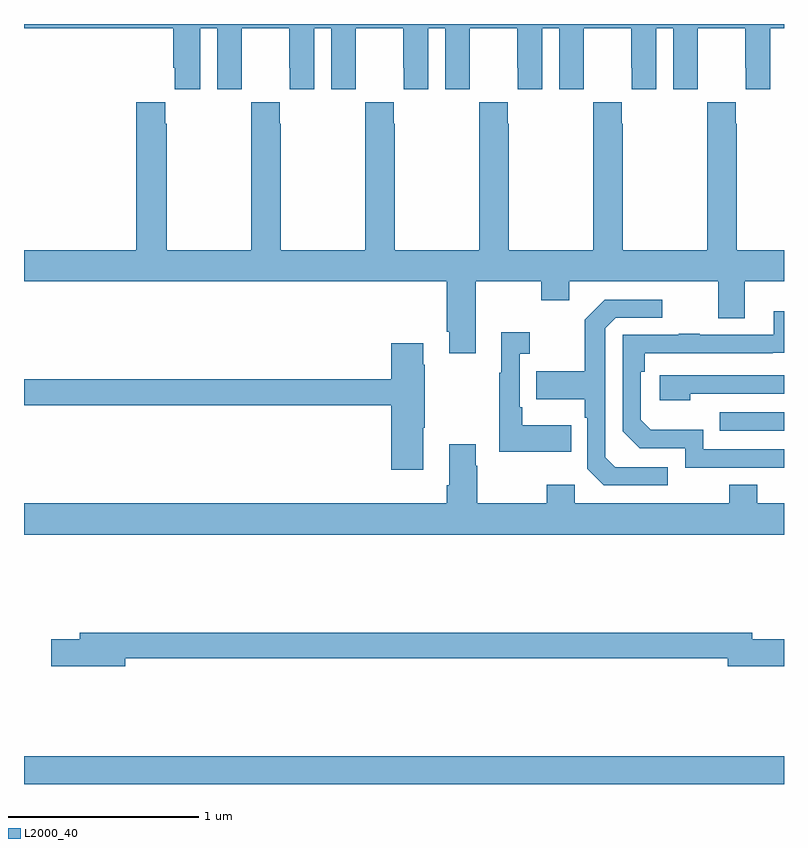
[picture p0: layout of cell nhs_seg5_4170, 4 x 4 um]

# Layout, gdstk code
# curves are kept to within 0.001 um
import gdstk
lib = gdstk.Library(unit=1e-6, precision=1e-09)
def R(c, l, rs):  # rectangles x0, y0, x1, y1
    for r in rs: c.add(gdstk.rectangle(r[:2], r[2:], *l))
def P(c, l, *ps):  # polygons
    for p in ps: c.add(gdstk.Polygon(p, *l))
L2000_40 = (2000, 40)

nhs_seg5_4170 = lib.new_cell('nhs_seg5_4170')
R(nhs_seg5_4170, L2000_40, [(357,836.799,361,836.944), (360.661,838.659,361,838.755)])
P(nhs_seg5_4170, L2000_40, [(357.928,840.776),(358.016,840.776),(358.016,840.456),(358.146,840.456),(358.146,840.568),(358.147,840.568),(358.147,840.776),(358.397,840.776),(358.397,840.568),(358.398,840.568),(358.398,840.456),(358.528,840.456),(358.528,840.776),(358.616,840.776),(358.616,840.456),(358.746,840.456),(358.746,840.568),(358.747,840.568),(358.747,840.776),(358.997,840.776),(358.997,840.568),(358.998,840.568),(358.998,840.456),(359.128,840.456),(359.128,840.776),(359.216,840.776),(359.216,840.456),(359.346,840.456),(359.346,840.568),(359.347,840.568),(359.347,840.776),(359.597,840.776),(359.597,840.568),(359.598,840.568),(359.598,840.456),(359.728,840.456),(359.728,840.776),(359.816,840.776),(359.816,840.456),(359.946,840.456),(359.946,840.568),(359.947,840.568),(359.947,840.776),(360.197,840.776),(360.197,840.568),(360.198,840.568),(360.198,840.456),(360.328,840.456),(360.328,840.776),(360.416,840.776),(360.416,840.456),(360.546,840.456),(360.546,840.568),(360.547,840.568),(360.547,840.776),(360.797,840.776),(360.797,840.568),(360.798,840.568),(360.798,840.456),(360.928,840.456),(360.928,840.776),(361,840.776),(361,840.799),(357,840.799),(357,840.776),(357.785,840.776),(357.785,840.568),(357.794,840.568),(357.794,840.456),(357.928,840.456)],
  [(358.947,840.275),(358.947,840.388),(358.797,840.388),(358.797,840.275),(358.795,840.275),(358.795,839.608),(358.35,839.608),(358.35,840.275),(358.347,840.275),(358.347,840.388),(358.197,840.388),(358.197,840.275),(358.195,840.275),(358.195,839.608),(357.75,839.608),(357.75,840.275),(357.743,840.275),(357.743,840.388),(357.59,840.388),(357.59,839.608),(357,839.608),(357,839.444),(359.225,839.444),(359.225,839.179),(359.237,839.179),(359.237,839.067),(359.377,839.067),(359.377,839.444),(359.722,839.444),(359.722,839.345),(359.869,839.345),(359.869,839.444),(360.653,839.444),(360.653,839.25),(360.793,839.25),(360.793,839.444),(361,839.444),(361,839.608),(360.75,839.608),(360.75,840.275),(360.747,840.275),(360.747,840.388),(360.597,840.388),(360.597,840.275),(360.595,840.275),(360.595,839.608),(360.15,839.608),(360.15,840.275),(360.147,840.275),(360.147,840.388),(359.997,840.388),(359.997,840.275),(359.995,840.275),(359.995,839.608),(359.55,839.608),(359.55,840.275),(359.547,840.275),(359.547,840.388),(359.397,840.388),(359.397,840.275),(359.395,840.275),(359.395,839.608),(358.95,839.608),(358.95,840.275)],
  [(360.388,838.467),(360.111,838.467),(360.06,838.518),(360.06,839.199),(360.114,839.253),(360.358,839.253),(360.358,839.349),(360.057,839.349),(359.952,839.243),(359.952,838.971),(359.695,838.971),(359.695,838.823),(359.952,838.823),(359.952,838.727),(359.964,838.727),(359.964,838.458),(360.051,838.371),(360.388,838.371)],
  [(361,838.56),(360.576,838.56),(360.576,838.663),(360.299,838.663),(360.246,838.716),(360.246,838.97),(360.266,838.97),(360.266,839.067),(361,839.068),(361,839.287),(360.947,839.287),(360.947,839.163),(360.557,839.163),(360.557,839.168),(360.445,839.168),(360.445,839.163),(360.15,839.163),(360.15,838.656),(360.24,838.566),(360.48,838.566),(360.48,838.464),(361,838.464)],
  [(359.879,838.687),(359.623,838.687),(359.623,838.783),(359.61,838.783),(359.61,839.063),(359.662,839.063),(359.662,839.176),(359.513,839.176),(359.513,838.963),(359.502,838.963),(359.502,838.547),(359.879,838.547)],
  [(359.101,838.675),(359.109,838.675),(359.109,839.006),(359.101,839.006),(359.101,839.119),(358.934,839.119),(358.934,838.928),(357,838.928),(357,838.792),(358.934,838.792),(358.934,838.452),(359.101,838.452)],
  [(360.506,838.854),(361,838.854),(361,838.95),(360.345,838.95),(360.345,838.82),(360.506,838.82)],
  [(361,838.276),(360.859,838.276),(360.859,838.375),(360.712,838.375),(360.712,838.276),(359.898,838.276),(359.898,838.375),(359.752,838.375),(359.752,838.276),(359.385,838.276),(359.385,838.475),(359.377,838.475),(359.377,838.588),(359.237,838.588),(359.237,838.372),(359.225,838.372),(359.225,838.276),(357,838.276),(357,838.112),(361,838.112)],
  [(357.532,837.46),(360.704,837.46),(360.704,837.418),(361,837.418),(361,837.56),(360.832,837.56),(360.832,837.596),(357.293,837.596),(357.293,837.56),(357.144,837.56),(357.144,837.418),(357.532,837.418)])

lib.write_gds('nhs_seg5_4170.gds')
